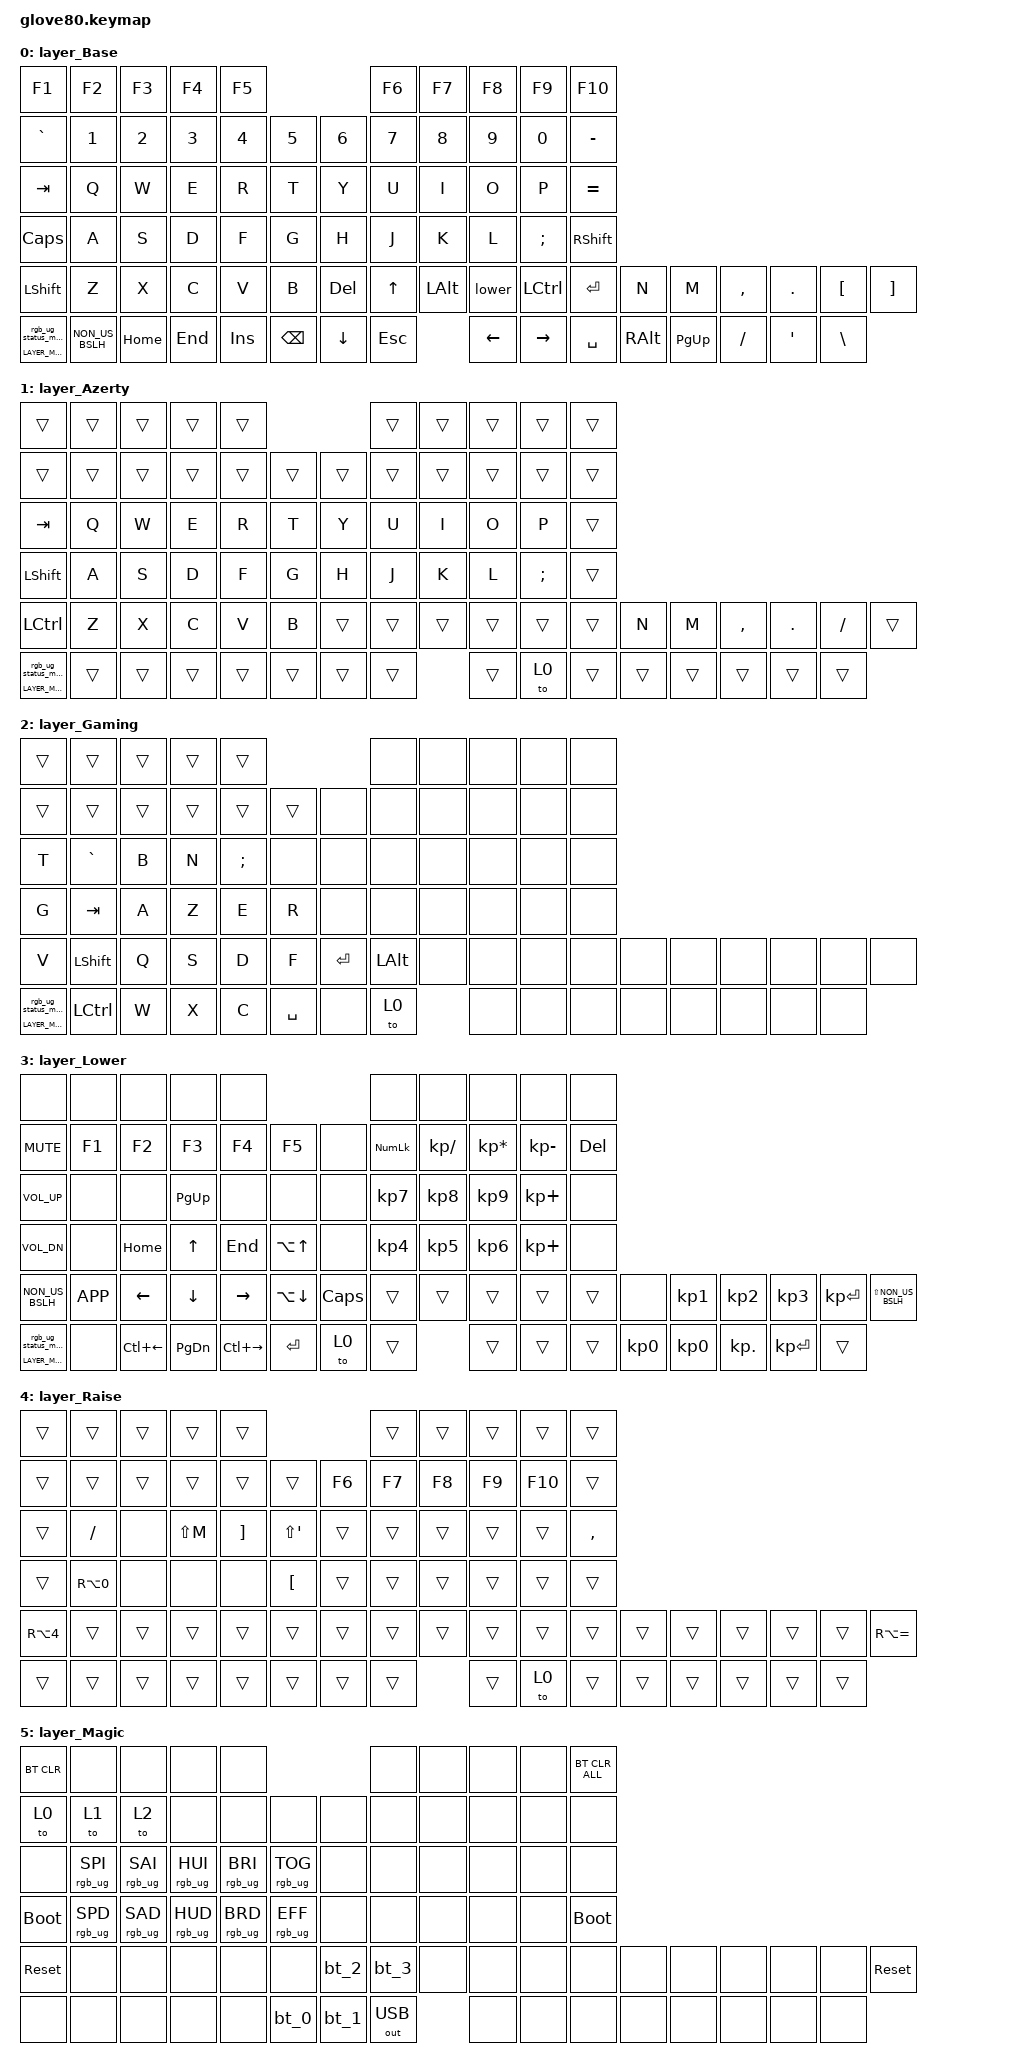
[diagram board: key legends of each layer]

/*
 * Copyright (c) 2020 The ZMK Contributors
 * Copyright (c) 2023 Innaworks Development Limited, trading as MoErgo
 *
 * SPDX-License-Identifier: MIT
 */


/* THIS FILE WAS GENERATED BY GLOVE80 LAYOUT EDITOR
 *
 * This file was generated automatically. You may or may not want to
 * edit it directly.
 */

#include <behaviors.dtsi>
/* Include all behavior includes needed */
#include <dt-bindings/zmk/outputs.h>
#include <dt-bindings/zmk/keys.h>
#include <dt-bindings/zmk/bt.h>
#include <dt-bindings/zmk/rgb.h>

//#include <dt-bindings/zmk/rgb_colors.h>

/* Automatically generated layer name #define */
#define LAYER_Base 0
#define LAYER_Azerty 1
#define LAYER_Gaming 2
#define LAYER_Lower 3
#define LAYER_Raise 4
#define LAYER_Magic 5

/* To deal with the situation where there is no Lower layer, to keep &lower happy */
#ifndef LAYER_Lower
#define LAYER_Lower 0
#endif

#define RED    0xFF0000
#define GREEN  0x00FF00
#define BLUE   0x0000FF
#define CYAN   0x00FFFF
#define MAGENTA 0xFF00FF
#define YELLOW 0xFFFF00
#define WHITE  0xFFFFFF
#define PURPLE 0x800080
/* Manual Color Definitions */
#define TEAL   0x008080
#define ORANGE 0xFFA500
#define PINK 0xFFC0CB
#define LIME_GREEN   0x32CD32
#define FOREST_GREEN 0x228B22
#define ______ 0x000000
#define ___ 0x000000

/ {
    behaviors {
        /* General underglow color set */
        ug: ug {
            compatible = "zmk,behavior-underglow-layer";
            #binding-cells = <1>;
        };

        /* CapsLock indicator */
        ug_cl: ug_cl {
            compatible = "zmk,behavior-underglow-layer";
            #binding-cells = <2>;
        };

        /* NumLock indicator - This fixes your current error */
        ug_nl: ug_nl {
            compatible = "zmk,behavior-underglow-layer";
            #binding-cells = <2>;
        };

        /* ScrollLock indicator - Prevents the next likely error */
        ug_sl: ug_sl {
            compatible = "zmk,behavior-underglow-layer";
            #binding-cells = <2>;
        };
    };
};

/* Custom Device-tree */
/* Empty underglow layer definition (for copy-paste)
        mylayer {
            bindings = <
                &ug ___ &ug ___ &ug ___ &ug ___ &ug ___                                                                  &ug ___ &ug ___ &ug ___ &ug ___ &ug ___
                &ug ___ &ug ___ &ug ___ &ug ___ &ug ___ &ug ___                                                  &ug ___ &ug ___ &ug ___ &ug ___ &ug ___ &ug ___
                &ug ___ &ug ___ &ug ___ &ug ___ &ug ___ &ug ___                                                  &ug ___ &ug ___ &ug ___ &ug ___ &ug ___ &ug ___
                &ug ___ &ug ___ &ug ___ &ug ___ &ug ___ &ug ___                                                  &ug ___ &ug ___ &ug ___ &ug ___ &ug ___ &ug ___
                &ug ___ &ug ___ &ug ___ &ug ___ &ug ___ &ug ___ &ug ___ &ug ___ &ug ___  &ug ___ &ug ___ &ug ___ &ug ___ &ug ___ &ug ___ &ug ___ &ug ___ &ug ___
                &ug ___ &ug ___ &ug ___ &ug ___ &ug ___         &ug ___ &ug ___ &ug ___  &ug ___ &ug ___ &ug ___         &ug ___ &ug ___ &ug ___ &ug ___ &ug ___
                >;
            layer-id = <LAYER_Name>;
        };
*/

/ {
    underglow-layer {
        compatible  = "zmk,underglow-layer";

        base {
            bindings = <
    &ug ___ &ug ___         &ug ___         &ug ___         &ug ___                                                                                          &ug ___         &ug ___         &ug ___         &ug ___         &ug ___
    &ug ___ &ug_cl ___ TEAL &ug_cl ___ TEAL &ug_cl ___ TEAL &ug_cl ___ TEAL &ug_cl ___ TEAL                                                  &ug_cl ___ TEAL &ug_cl ___ TEAL &ug_cl ___ TEAL &ug_cl ___ TEAL &ug_cl ___ TEAL &ug ___
    &ug ___ &ug_cl ___ TEAL &ug_cl ___ TEAL &ug_cl ___ TEAL &ug_cl ___ TEAL &ug_cl ___ TEAL                                                  &ug_cl ___ TEAL &ug_cl ___ TEAL &ug_cl ___ TEAL &ug_cl ___ TEAL &ug ___         &ug ___
    &ug ___ &ug_cl ___ TEAL &ug_cl ___ TEAL &ug_cl ___ TEAL &ug_cl ___ TEAL &ug_cl ___ TEAL                                                  &ug_cl ___ TEAL &ug_cl ___ TEAL &ug_cl ___ TEAL &ug_cl ___ TEAL &ug_cl ___ TEAL &ug ___
    &ug ___ &ug_cl ___ TEAL &ug_cl ___ TEAL &ug_cl ___ TEAL &ug_cl ___ TEAL &ug_cl ___ TEAL &ug ___ &ug ___ &ug ___  &ug ___ &ug ___ &ug ___ &ug_cl ___ TEAL &ug_cl ___ TEAL &ug ___         &ug ___         &ug ___         &ug ___
    &ug ___ &ug ___         &ug ___         &ug ___         &ug ___                         &ug ___ &ug ___ &ug ___  &ug ___ &ug ___ &ug ___                 &ug ___         &ug ___         &ug ___         &ug ___         &ug ___
                >;
            layer-id = <LAYER_Base>;
        };

        lower {
            bindings = <
    &ug ___    &ug ___  &ug ___    &ug ___    &ug ___                                                                                 &ug ___             &ug ___           &ug ___           &ug ___     &ug ___
    &ug PURPLE &ug PINK &ug PINK   &ug   PINK &ug   PINK &ug PINK                                                             &ug ___ &ug_nl WHITE ORANGE &ug ORANGE        &ug ORANGE        &ug ORANGE  &ug RED
    &ug PURPLE &ug ___  &ug ___    &ug ORANGE &ug ___    &ug ___                                                              &ug ___ &ug_nl RED YELLOW   &ug_nl RED YELLOW &ug_nl RED YELLOW &ug ORANGE  &ug ___
    &ug PURPLE &ug ___  &ug ORANGE &ug    RED &ug ORANGE &ug ___                                                              &ug ___ &ug_nl RED YELLOW   &ug_nl RED YELLOW &ug_nl RED YELLOW &ug ORANGE  &ug ___
    &ug   BLUE &ug ___  &ug RED    &ug    RED &ug    RED &ug ___  &ug_cl BLUE TEAL &ug ___   &ug ___  &ug ___ &ug ___ &ug ___ &ug ___ &ug_nl RED YELLOW   &ug_nl RED YELLOW &ug_nl RED YELLOW &ug    RED  &ug BLUE
    &ug ___    &ug ___  &ug ORANGE &ug ORANGE &ug ORANGE          &ug ___          &ug GREEN &ug ___  &ug ___ &ug ___ &ug ___         &ug_nl RED YELLOW   &ug_nl RED YELLOW &ug ORANGE        &ug    RED  &ug ___
                >;
            layer-id = <LAYER_Lower>;
        };

        raise {
            bindings = <
                &ug ___  &ug ___  &ug ___ &ug ___  &ug ___                                                                      &ug ___  &ug ___  &ug ___  &ug ___  &ug ___
                &ug ___  &ug ___  &ug ___ &ug ___  &ug ___  &ug ___                                                    &ug PINK &ug PINK &ug PINK &ug PINK &ug PINK &ug ___
                &ug ___  &ug BLUE &ug ___ &ug BLUE &ug BLUE &ug BLUE                                                   &ug ___  &ug ___  &ug ___  &ug ___  &ug ___  &ug BLUE
                &ug ___  &ug BLUE &ug ___ &ug ___  &ug ___  &ug BLUE                                                   &ug ___  &ug ___  &ug ___  &ug ___  &ug ___  &ug ___
                &ug BLUE &ug ___  &ug ___ &ug ___  &ug ___  &ug ___ &ug ___ &ug ___ &ug ___  &ug ___ &ug ___   &ug ___ &ug ___  &ug ___  &ug ___  &ug ___  &ug ___  &ug BLUE
                &ug ___  &ug ___  &ug ___ &ug ___  &ug ___          &ug ___ &ug ___ &ug ___  &ug ___ &ug GREEN &ug ___          &ug ___  &ug ___  &ug ___  &ug ___  &ug ___
                >;
            layer-id = <LAYER_Raise>;
        };

        gaming {
            bindings = <
                &ug ___ &ug ___  &ug ___ &ug ___ &ug ___                                                                        &ug ___ &ug ___ &ug ___ &ug ___ &ug ___
                &ug ___ &ug ___  &ug ___ &ug ___ &ug ___ &ug ___                                                        &ug ___ &ug ___ &ug ___ &ug ___ &ug ___ &ug ___
                &ug ___ &ug ___  &ug ___ &ug ___ &ug ___ &ug ___                                                        &ug ___ &ug ___ &ug ___ &ug ___ &ug ___ &ug ___
                &ug ___ &ug TEAL &ug ___ &ug RED &ug ___ &ug ___                                                        &ug ___ &ug ___ &ug ___ &ug ___ &ug ___ &ug ___
                &ug ___ &ug BLUE &ug RED &ug RED &ug RED &ug ___ &ug ORANGE &ug BLUE &ug ___    &ug ___ &ug ___ &ug ___ &ug ___ &ug ___ &ug ___ &ug ___ &ug ___ &ug ___
                &ug ___ &ug BLUE &ug ___ &ug ___ &ug ___         &ug RED    &ug ___  &ug GREEN  &ug ___ &ug ___ &ug ___         &ug ___ &ug ___ &ug ___ &ug ___ &ug ___
                >;
            layer-id = <LAYER_Gaming>;
        };
    };
};


/* Glove80 system behavior & macros */
/ {
    behaviors {
        // For the "layer" key, it'd nice to be able to use it as either a shift or a toggle.
        // Configure it as a tap dance, so the first tap (or hold) is a &mo and the second tap is a &to
        lower: lower {
            compatible = "zmk,behavior-tap-dance";
            label = "LAYER_TAP_DANCE";
            #binding-cells = <0>;
            tapping-term-ms = <200>;
            bindings = <&mo LAYER_Lower>, <&to LAYER_Lower>;
        };
    };
};

/ {
    macros {
        rgb_ug_status_macro: rgb_ug_status_macro {
            label = "RGB_UG_STATUS";
            compatible = "zmk,behavior-macro";
            #binding-cells = <0>;
            bindings
                = <&rgb_ug RGB_STATUS>;
        };
    };
};


/ {
#ifdef BT_DISC_CMD
    behaviors {
        bt_0: bt_0 {
            compatible = "zmk,behavior-tap-dance";
            label = "BT_0";
            #binding-cells = <0>;
            tapping-term-ms = <200>;
            bindings = <&bt_select_0>, <&bt BT_DISC 0>;
        };
        bt_1: bt_1 {
            compatible = "zmk,behavior-tap-dance";
            label = "BT_1";
            #binding-cells = <0>;
            tapping-term-ms = <200>;
            bindings = <&bt_select_1>, <&bt BT_DISC 1>;
        };
        bt_2: bt_2 {
            compatible = "zmk,behavior-tap-dance";
            label = "BT_2";
            #binding-cells = <0>;
            tapping-term-ms = <200>;
            bindings = <&bt_select_2>, <&bt BT_DISC 2>;
        };
        bt_3: bt_3 {
            compatible = "zmk,behavior-tap-dance";
            label = "BT_3";
            #binding-cells = <0>;
            tapping-term-ms = <200>;
            bindings = <&bt_select_3>, <&bt BT_DISC 3>;
        };
    };
    macros {
        bt_select_0: bt_select_0 {
            label = "BT_SELECT_0";
            compatible = "zmk,behavior-macro";
            #binding-cells = <0>;
            bindings
                = <&out OUT_BLE>,
                  <&bt BT_SEL 0>;
        };
        bt_select_1: bt_select_1 {
            label = "BT_SELECT_1";
            compatible = "zmk,behavior-macro";
            #binding-cells = <0>;
            bindings
                = <&out OUT_BLE>,
                  <&bt BT_SEL 1>;
        };
        bt_select_2: bt_select_2 {
            label = "BT_SELECT_2";
            compatible = "zmk,behavior-macro";
            #binding-cells = <0>;
            bindings
                = <&out OUT_BLE>,
                  <&bt BT_SEL 2>;
        };
        bt_select_3: bt_select_3 {
            label = "BT_SELECT_3";
            compatible = "zmk,behavior-macro";
            #binding-cells = <0>;
            bindings
                = <&out OUT_BLE>,
                  <&bt BT_SEL 3>;
        };
    };
#else
    macros {
        bt_0: bt_0 {
            label = "BT_0";
            compatible = "zmk,behavior-macro";
            #binding-cells = <0>;
            bindings
                = <&out OUT_BLE>,
                  <&bt BT_SEL 0>;
        };
        bt_1: bt_1 {
            label = "BT_1";
            compatible = "zmk,behavior-macro";
            #binding-cells = <0>;
            bindings
                = <&out OUT_BLE>,
                  <&bt BT_SEL 1>;
        };
        bt_2: bt_2 {
            label = "BT_2";
            compatible = "zmk,behavior-macro";
            #binding-cells = <0>;
            bindings
                = <&out OUT_BLE>,
                  <&bt BT_SEL 2>;
        };
        bt_3: bt_3 {
            label = "BT_3";
            compatible = "zmk,behavior-macro";
            #binding-cells = <0>;
            bindings
                = <&out OUT_BLE>,
                  <&bt BT_SEL 3>;
        };
    };
#endif
};

/ {
    behaviors {
        magic: magic {
            compatible = "zmk,behavior-hold-tap";
            label = "MAGIC_HOLD_TAP";
            #binding-cells = <2>;
            flavor = "tap-preferred";
            tapping-term-ms = <200>;
            bindings = <&mo>, <&rgb_ug_status_macro>;
        };
    };
};

/* #define for key positions */
#define POS_LH_T1 52
#define POS_LH_T2 53
#define POS_LH_T3 54
#define POS_LH_T4 69
#define POS_LH_T5 70
#define POS_LH_T6 71
#define POS_LH_C1R2 15
#define POS_LH_C1R3 27
#define POS_LH_C1R4 39
#define POS_LH_C1R5 51
#define POS_LH_C2R1 4
#define POS_LH_C2R2 14
#define POS_LH_C2R3 26
#define POS_LH_C2R4 38
#define POS_LH_C2R5 50
#define POS_LH_C2R6 68
#define POS_LH_C3R1 3
#define POS_LH_C3R2 13
#define POS_LH_C3R3 25
#define POS_LH_C3R4 37
#define POS_LH_C3R5 49
#define POS_LH_C3R6 67
#define POS_LH_C4R1 2
#define POS_LH_C4R2 12
#define POS_LH_C4R3 24
#define POS_LH_C4R4 36
#define POS_LH_C4R5 48
#define POS_LH_C4R6 66
#define POS_LH_C5R1 1
#define POS_LH_C5R2 11
#define POS_LH_C5R3 23
#define POS_LH_C5R4 35
#define POS_LH_C5R5 47
#define POS_LH_C5R6 65
#define POS_LH_C6R1 0
#define POS_LH_C6R2 10
#define POS_LH_C6R3 22
#define POS_LH_C6R4 34
#define POS_LH_C6R5 46
#define POS_LH_C6R6 64
#define POS_RH_T1 57
#define POS_RH_T2 56
#define POS_RH_T3 55
#define POS_RH_T4 74
#define POS_RH_T5 73
#define POS_RH_T6 72
#define POS_RH_C1R2 16
#define POS_RH_C1R3 28
#define POS_RH_C1R4 40
#define POS_RH_C1R5 58
#define POS_RH_C2R1 5
#define POS_RH_C2R2 17
#define POS_RH_C2R3 29
#define POS_RH_C2R4 41
#define POS_RH_C2R5 59
#define POS_RH_C2R6 75
#define POS_RH_C3R1 6
#define POS_RH_C3R2 18
#define POS_RH_C3R3 30
#define POS_RH_C3R4 42
#define POS_RH_C3R5 60
#define POS_RH_C3R6 76
#define POS_RH_C4R1 7
#define POS_RH_C4R2 19
#define POS_RH_C4R3 31
#define POS_RH_C4R4 43
#define POS_RH_C4R5 61
#define POS_RH_C4R6 77
#define POS_RH_C5R1 8
#define POS_RH_C5R2 20
#define POS_RH_C5R3 32
#define POS_RH_C5R4 44
#define POS_RH_C5R5 62
#define POS_RH_C5R6 78
#define POS_RH_C6R1 9
#define POS_RH_C6R2 21
#define POS_RH_C6R3 33
#define POS_RH_C6R4 45
#define POS_RH_C6R5 63
#define POS_RH_C6R6 79

/* Custom Defined Behaviors */
/ {
    behaviors {
        raise: tt_raise {
            compatible = "zmk,behavior-tap-dance";
            tapping-term-ms = <200>;
            #binding-cells = <0>;
            bindings = <&mo LAYER_Raise>
                     , <&to LAYER_Raise>;
        };
    };

};

    //////////////////////////////////////////////////////////////////////////
    //
    // Custom hold-taps
    //
    //////////////////////////////////////////////////////////////////////////

    //
    // CAPPY_HOLDING_TIME defines how long you need to hold (milliseconds)
    // cappy to type CapsLock.  Shorter holds are taps that type CapsWord.
    //
/*
    #ifndef CAPPY_HOLDING_TIME
    #define CAPPY_HOLDING_TIME 200
    #endif

    //
    // Tap = CapsWord; Hold = CapsLock
    //
    cappy: capsword_and_capslock {
        compatible = "zmk,behavior-hold-tap";
        flavor = "tap-preferred";
        tapping-term-ms = <CAPPY_HOLDING_TIME>;
        #binding-cells = <2>;
        bindings = <&kp>, <&caps_word>;
    };*/

/* Automatically generated macro definitions */
/ {
    macros {
    
    };
};

/* Automatically generated keymap */
/ {
    keymap {
        compatible = "zmk,keymap";


        layer_Base {
            bindings = <
   &kp F1              &kp F2   &kp F3  &kp F4   &kp F5                         &kp F6   &kp F7   &kp F8   &kp F9    &kp F10
   &kp GRAVE           &kp N1   &kp N2  &kp N3   &kp N4   &kp N5   &kp N6       &kp N7   &kp N8   &kp N9   &kp N0    &kp MINUS
   &kp TAB             &kp Q    &kp W   &kp E    &kp R    &kp T    &kp Y        &kp U    &kp I    &kp O    &kp P     &kp EQUAL
   &kp CAPS   &kp A    &kp S   &kp D    &kp F    &kp G    &kp H        &kp J    &kp K    &kp L   &kp SEMI  &kp RSHFT
   &kp LSHFT           &kp Z    &kp X   &kp C    &kp V    &kp B    &kp DELETE   &kp UP   &kp LALT &lower   &kp LCTRL  &kp ENTER    &kp N    &kp M   &kp COMMA     &kp DOT    &kp LBKT   &kp RBKT
   &magic LAYER_Magic 0 &kp NON_US_BSLH &kp HOME &kp END  &kp INSERT &kp BACKSPACE &kp DOWN &kp ESC &kp LEFT &kp RIGHT &kp SPACE  &kp RALT   &kp PG_UP    &kp FSLH     &kp SQT   &kp BSLH
   >;
        };

        layer_Azerty {
            bindings = <
               &trans  &trans  &trans  &trans  &trans                                                                  &trans     &trans   &trans    &trans  &trans
               &trans  &trans  &trans  &trans  &trans  &trans                                                  &trans  &trans     &trans   &trans    &trans  &trans
              &kp TAB   &kp Q   &kp W   &kp E   &kp R   &kp T                                                   &kp Y   &kp U      &kp I    &kp O     &kp P  &trans
            &kp LSHFT   &kp A   &kp S   &kp D   &kp F   &kp G                                                   &kp H   &kp J      &kp K    &kp L  &kp SEMI  &trans
            &kp LCTRL   &kp Z   &kp X   &kp C   &kp V   &kp B  &trans  &trans  &trans  &trans  &trans  &trans   &kp N   &kp M  &kp COMMA  &kp DOT  &kp FSLH  &trans
 &magic LAYER_Magic 0  &trans  &trans  &trans  &trans          &trans  &trans  &trans  &trans   &to 0  &trans          &trans     &trans   &trans    &trans  &trans
            >;
        };

        layer_Gaming {
            bindings = <
               &trans     &trans  &trans  &trans    &trans                                                                        &none   &none   &none   &none   &none
               &trans     &trans  &trans  &trans    &trans  &trans                                                        &none   &none   &none   &none   &none   &none
                &kp T  &kp GRAVE   &kp B   &kp N  &kp SEMI   &none                                                        &none   &none   &none   &none   &none   &none
                &kp G    &kp TAB   &kp A   &kp Z     &kp E   &kp R                                                        &none   &none   &none   &none   &none   &none
                &kp V  &kp LSHFT   &kp Q   &kp S     &kp D   &kp F    &kp RET  &kp LALT   &none   &none   &none   &none   &none   &none   &none   &none   &none   &none
 &magic LAYER_Magic 0  &kp LCTRL   &kp W   &kp X     &kp C          &kp SPACE     &none   &to 0   &none   &none   &none           &none   &none   &none   &none   &none
            >;
        };

        layer_Lower {
            bindings = <
                &none      &none         &none      &none          &none                                                                              &none         &none            &none         &none                &none
           &kp K_MUTE     &kp F1        &kp F2     &kp F3         &kp F4        &kp F5                                                    &none  &kp KP_NUM  &kp KP_SLASH  &kp KP_MULTIPLY  &kp KP_MINUS              &kp DEL
         &kp C_VOL_UP      &none         &none  &kp PG_UP          &none         &none                                                    &none   &kp KP_N7     &kp KP_N8        &kp KP_N9   &kp KP_PLUS                &none
         &kp C_VOL_DN      &none      &kp HOME     &kp UP        &kp END    &kp LA(UP)                                                    &none   &kp KP_N4     &kp KP_N5        &kp KP_N6   &kp KP_PLUS                &none
      &kp NON_US_BSLH  &kp K_APP      &kp LEFT   &kp DOWN      &kp RIGHT  &kp LA(DOWN)  &kp CAPS  &trans  &trans  &trans  &trans  &trans   &none   &kp KP_N1     &kp KP_N2        &kp KP_N3  &kp KP_ENTER  &kp LS(NON_US_BSLH)
 &magic LAYER_Magic 0      &none  &kp LC(LEFT)  &kp PG_DN  &kp LC(RIGHT)                &kp RET   &to 0  &trans  &trans  &trans  &trans           &kp KP_N0     &kp KP_N0       &kp KP_DOT  &kp KP_ENTER               &trans
            >;
        };

        layer_Raise {
            bindings = <
     &trans      &trans  &trans     &trans    &trans                                                                       &trans  &trans  &trans   &trans         &trans
     &trans      &trans  &trans     &trans    &trans       &trans                                                  &kp F6  &kp F7  &kp F8  &kp F9  &kp F10         &trans
     &trans    &kp FSLH   &none  &kp LS(M)  &kp RBKT  &kp LS(SQT)                                                  &trans  &trans  &trans  &trans   &trans      &kp COMMA
     &trans  &kp RA(N0)   &none      &none     &none     &kp LBKT                                                  &trans  &trans  &trans  &trans   &trans         &trans
 &kp RA(N4)      &trans  &trans     &trans    &trans       &trans  &trans  &trans  &trans  &trans  &trans  &trans  &trans  &trans  &trans  &trans   &trans  &kp RA(EQUAL)
     &trans      &trans  &trans     &trans    &trans               &trans  &trans  &trans  &trans   &to 0  &trans          &trans  &trans  &trans   &trans         &trans
            >;
        };

        layer_Magic {
            bindings = <
  &bt BT_CLR            &none            &none            &none            &none                                                                                  &none   &none   &none   &none  &bt BT_CLR_ALL
       &to 0            &to 1            &to 2            &none            &none            &none                                                         &none   &none   &none   &none   &none           &none
       &none  &rgb_ug RGB_SPI  &rgb_ug RGB_SAI  &rgb_ug RGB_HUI  &rgb_ug RGB_BRI  &rgb_ug RGB_TOG                                                         &none   &none   &none   &none   &none           &none
 &bootloader  &rgb_ug RGB_SPD  &rgb_ug RGB_SAD  &rgb_ug RGB_HUD  &rgb_ug RGB_BRD  &rgb_ug RGB_EFF                                                         &none   &none   &none   &none   &none     &bootloader
  &sys_reset            &none            &none            &none            &none            &none   &bt_2   &bt_3         &none   &none   &none   &none   &none   &none   &none   &none   &none      &sys_reset
       &none            &none            &none            &none            &none                    &bt_0   &bt_1  &out OUT_USB   &none   &none   &none           &none   &none   &none   &none           &none
            >;
        };

    };
};
